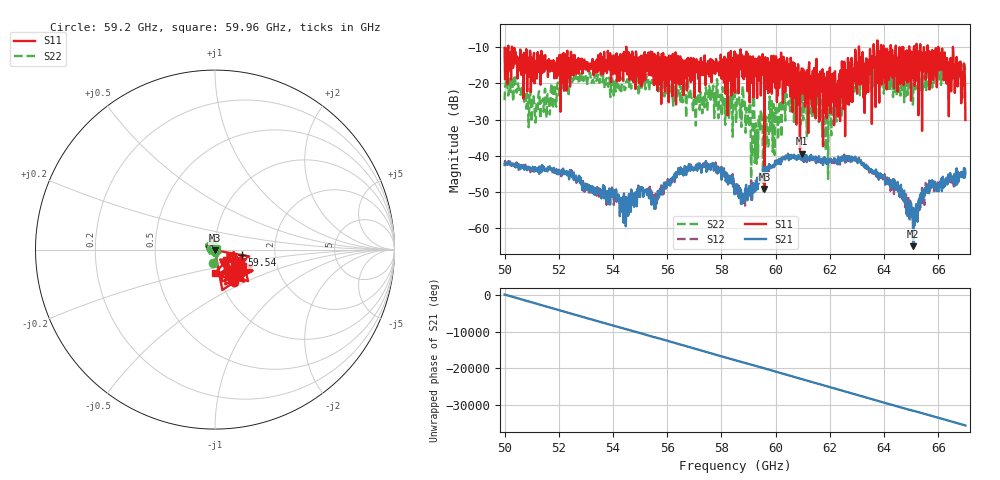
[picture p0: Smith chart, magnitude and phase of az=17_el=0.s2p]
!Created with skrf (http://scikit-rf.org).
# GHz S RI R 50.0
!freq ReS11 ImS11 ReS21 ImS21 ReS12 ImS12 ReS22 ImS22
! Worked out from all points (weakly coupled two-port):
!   1001 points, 50 GHz to 67 GHz, reference 50 ohm
!   highest |S21| = -39.36 dB at 60.97 GHz (marker M1); lowest = -64.9 dB at 65.08 GHz (marker M2)
!   lowest |S11| = -49.1 dB at 59.59 GHz (marker M3), VSWR 1.01, Z = 49.9 - j0.332 ohm
!   |S11| at or under -10 dB: 50.27 GHz to 54.49 GHz (4.215 GHz wide, 8.05 % of centre); 54.49 GHz to 63.07 GHz (8.584 GHz wide, 14.6 % of centre); 63.07 GHz to 63.61 GHz (540.5 MHz wide, 0.853 % of centre) (the widest 3 of 21)
!   |S22| runs from -49.6 to -14.1 dB; largest |S21 - S12| = 0.0024
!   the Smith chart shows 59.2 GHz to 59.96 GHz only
!   S11 on the Smith chart (normalised r, x): 59.2 GHz: 1.14, -0.43; 59.54 GHz: 1.35, -0.09; 59.96 GHz: 0.97, -0.26
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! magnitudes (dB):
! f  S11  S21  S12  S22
! 50 GHz  -10.1  -42.5  -42.3  -24.6
! 50.42 GHz  -14.1  -42.6  -42.6  -21.5
! 51.07 GHz  -12.2  -44.0  -43.7  -23.5
! 52.84 GHz  -14.2  -46.8  -48.0  -19.5
! 54.47 GHz  -16.1  -59.4  -55.8  -20.8
! 55.68 GHz  -13.4  -51.3  -51.0  -22.2
! 57.14 GHz  -18.7  -42.1  -42.6  -23.3
! 58.5 GHz  -22.4  -49.8  -48.7  -24.1
! 59.2 GHz  -13.6  -47.6  -49.6  -22.7
! 59.54 GHz  -16.3  -43.1  -44.6  -49.6
! 59.59 GHz  -49.1  -43.3  -43.8  -30.4
! 59.96 GHz  -17.7  -42.6  -42.2  -39.7
! 60.64 GHz  -14.2  -40.5  -40.4  -22.9
! 60.97 GHz  -15.8  -39.4  -40.2  -22.9
! 61.34 GHz  -26.3  -41.1  -40.9  -26.8
! 62 GHz  -15.6  -40.9  -41.5  -25.7
! 62.55 GHz  -14.6  -41.0  -40.0  -19.7
! 64.18 GHz  -19.0  -46.2  -46.5  -18.4
! 65.08 GHz  -13.6  -64.9  -55.9  -23.6
! 66.08 GHz  -15.8  -47.4  -47.9  -15.7
! 66.75 GHz  -18.0  -47.2  -46.4  -18.3
! 67 GHz  -30.1  -44.9  -45.6  -15.6
